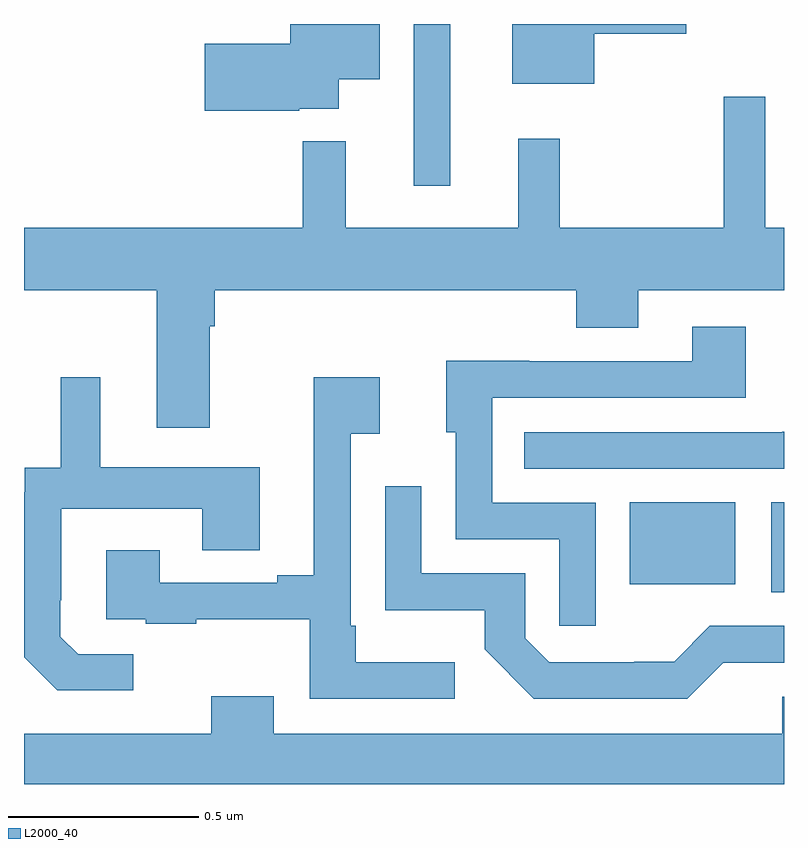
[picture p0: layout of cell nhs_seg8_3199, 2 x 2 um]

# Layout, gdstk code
import gdstk
lib = gdstk.Library(unit=1e-6, precision=1e-09)
def R(c, l, rs):  # rectangles x0, y0, x1, y1
    for r in rs: c.add(gdstk.rectangle(r[:2], r[2:], *l))
def P(c, l, *ps):  # polygons
    for p in ps: c.add(gdstk.Polygon(p, *l))
L2000_40 = (2000, 40)

nhs_seg8_3199 = lib.new_cell('nhs_seg8_3199')
R(nhs_seg8_3199, L2000_40, [(155.966,1082.405,156,1082.641), (155.594,1082.426,155.872,1082.641), (155.025,1083.474,155.122,1083.9)])
P(nhs_seg8_3199, L2000_40, [(155.5,1083.875),(155.743,1083.875),(155.743,1083.9),(155.285,1083.9),(155.285,1083.743),(155.5,1083.743)],
  [(154.724,1083.677),(154.828,1083.677),(154.828,1083.755),(154.936,1083.755),(154.936,1083.9),(154.7,1083.9),(154.7,1083.848),(154.476,1083.848),(154.476,1083.672),(154.724,1083.672)],
  [(154.489,1083.104),(154.502,1083.104),(154.502,1083.2),(155.453,1083.2),(155.453,1083.101),(155.617,1083.101),(155.617,1083.2),(156,1083.2),(156,1083.364),(155.95,1083.364),(155.95,1083.709),(155.841,1083.709),(155.841,1083.364),(155.41,1083.364),(155.41,1083.598),(155.3,1083.598),(155.3,1083.364),(154.847,1083.364),(154.847,1083.592),(154.734,1083.592),(154.734,1083.364),(154,1083.364),(154,1083.2),(154.349,1083.2),(154.349,1082.838),(154.489,1082.838)],
  [(155.505,1082.64),(155.232,1082.64),(155.232,1082.916),(155.899,1082.916),(155.899,1083.103),(155.759,1083.103),(155.759,1083.012),(155.329,1083.012),(155.329,1083.014),(155.111,1083.014),(155.111,1082.826),(155.136,1082.826),(155.136,1082.544),(155.409,1082.544),(155.409,1082.316),(155.505,1082.316)],
  [(154.288,1082.241),(154.143,1082.241),(154.096,1082.288),(154.096,1082.383),(154.098,1082.383),(154.098,1082.624),(154.469,1082.624),(154.469,1082.515),(154.621,1082.515),(154.621,1082.734),(154.201,1082.734),(154.201,1082.971),(154.097,1082.971),(154.097,1082.732),(154.002,1082.732),(154.002,1082.668),(154,1082.668),(154,1082.234),(154.087,1082.147),(154.288,1082.147)],
  [(155.134,1082.221),(154.873,1082.221),(154.873,1082.317),(154.86,1082.317),(154.86,1082.822),(154.936,1082.822),(154.936,1082.971),(154.763,1082.971),(154.763,1082.449),(154.667,1082.449),(154.667,1082.43),(154.357,1082.43),(154.357,1082.515),(154.217,1082.515),(154.217,1082.334),(154.321,1082.334),(154.321,1082.322),(154.453,1082.322),(154.453,1082.333),(154.752,1082.333),(154.752,1082.124),(155.134,1082.124)],
  [(156,1082.827),(155.995,1082.827),(155.995,1082.826),(155.317,1082.826),(155.317,1082.73),(156,1082.73)],
  [(155.84,1082.219),(156,1082.219),(156,1082.316),(155.805,1082.316),(155.711,1082.222),(155.606,1082.222),(155.606,1082.22),(155.382,1082.22),(155.319,1082.283),(155.319,1082.454),(155.046,1082.454),(155.046,1082.683),(154.95,1082.683),(154.95,1082.357),(155.212,1082.357),(155.212,1082.255),(155.342,1082.124),(155.745,1082.124)],
  [(156,1082.13),(155.996,1082.13),(155.996,1082.032),(154.657,1082.032),(154.657,1082.131),(154.493,1082.131),(154.493,1082.032),(154,1082.032),(154,1081.9),(156,1081.9)])

lib.write_gds('nhs_seg8_3199.gds')
